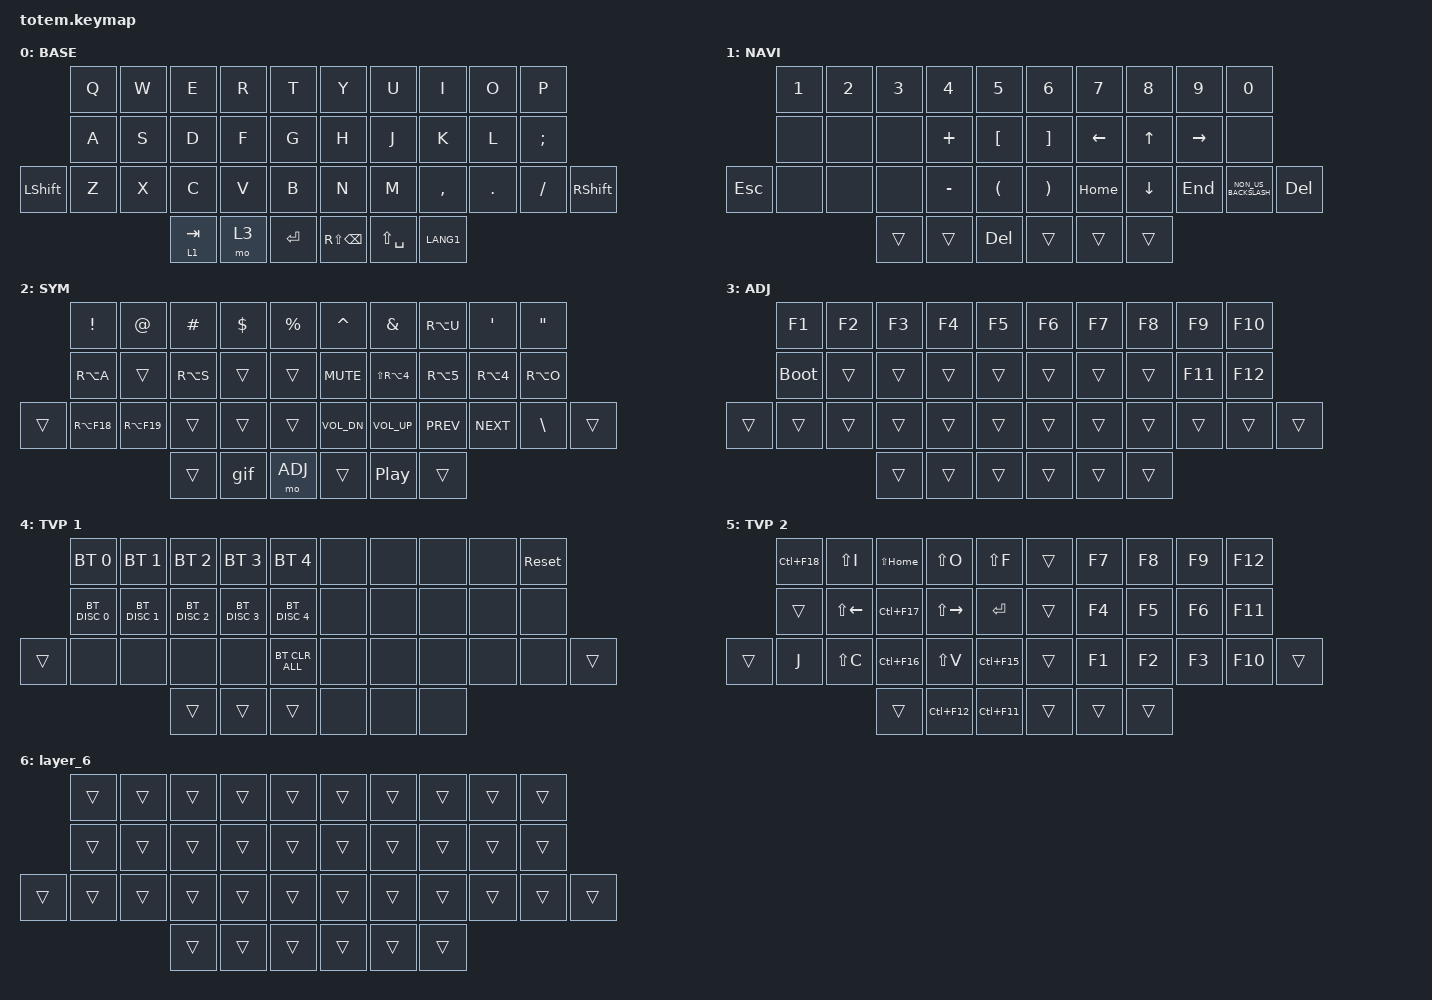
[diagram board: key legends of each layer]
//
//                                                        ▀▀▀▀▀     ▀▀▀▀▀          ▀▀█▀▀
//                                                        ▄▀▀▀▄  ▄  ▄▀▀▀▄  ▄  ▄▀▀▀▄  █  ▄▀▀▀▄
//                                                        █   █  █  █   █  █  █   █  █  █   █
//                                                         ▀▀▀   █   ▀▀▀   █   ▀▀▀   ▀   ▀▀▀
//                                                               █      ▄▄▄█▄▄▄    █   █  
//                                                               ▀      █  █  █     █▄█
//                                                             ▀▀▀▀▀    █  █  █      ▀
//                                                                      ▀  ▀  ▀
//
// ▄▄▄▄▄▄▄▄▄▄▄▄▄▄▄▄▄▄▄▄▄▄▄▄▄▄▄▄▄▄▄▄▄▄▄▄▄▄▄▄▄▄▄▄▄▄▄▄▄▄▄▄▄▄▄▄▄▄▄▄▄▄▄▄▄▄▄▄▄▄▄▄▄▄▄▄▄▄▄▄▄▄▄▄▄▄▄▄▄▄▄▄▄▄▄▄▄▄▄▄▄▄▄▄▄▄▄▄▄▄▄▄▄▄▄▄▄▄▄▄▄▄▄▄▄▄▄▄▄▄▄▄▄▄▄▄▄▄▄▄▄▄▄▄▄▄▄▄▄

#include <behaviors.dtsi>
#include <dt-bindings/zmk/bt.h>
#include <dt-bindings/zmk/keys.h>

#define BASE 0
#define NAV  1
#define SYM  2
#define ADJ  3
#define TVP1 4
#define TVP2 5

&mt {
    quick-tap-ms = <100>;
    global-quick-tap;
    flavor = "tap-preferred";
    tapping-term-ms = <170>;
};

/ {
    combos {
        compatible = "zmk,combos";

        combo_esc {
            timeout-ms = <50>;
            key-positions = <0 1>;
            bindings = <&kp ESC>;
            layers = <0>;
        };

        blooth {
            bindings = <&mo 4>;
            key-positions = <20 31>;
            timeout-ms = <50>;
            layers = <0>;
        };

        ctrl+z {
            bindings = <&kp K_BACK>;
            key-positions = <21 22>;
            timeout-ms = <50>;
            layers = <0>;
        };

        ctrl+shift+z {
            bindings = <&kp K_FORWARD>;
            key-positions = <22 23>;
            timeout-ms = <50>;
            layers = <0>;
        };

        ctrl+c {
            bindings = <&kp K_COPY>;
            key-positions = <23 24>;
            timeout-ms = <50>;
            layers = <0>;
        };

        ctrl+v {
            bindings = <&kp K_PASTE>;
            key-positions = <25 24>;
            timeout-ms = <50>;
            layers = <0>;
        };

        goto_blutooth {
            bindings = <&to 4>;
            key-positions = <5 9 30 26>;
            timeout-ms = <50>;
            layers = <0>;
        };

        go_m0 {
            bindings = <&to 0>;
            key-positions = <32 34>;
            timeout-ms = <50>;
            layers = <0>;
        };
    };

    macros {
        gif: gif {
            label = "giphy";
            compatible = "zmk,behavior-macro";
            #binding-cells = <0>;
            bindings =
                <&macro_press>,
                <&kp LSHFT>,
                <&macro_tap>,
                <&kp N2>,
                <&macro_release>,
                <&kp LSHFT>,
                <&macro_tap>,
                <&kp G &kp I &kp F>;
        };
    };

    keymap {
        compatible = "zmk,keymap";

        // ▄▄▄▄▄▄▄▄▄▄▄▄▄▄▄▄▄▄▄▄▄▄▄▄▄▄▄▄▄▄▄▄▄▄▄▄▄▄▄▄▄▄▄▄▄▄▄▄▄▄▄▄▄▄▄▄▄▄▄▄▄▄▄▄▄▄▄▄▄▄▄▄▄▄▄▄▄▄▄▄▄▄▄▄▄▄▄▄▄▄▄▄▄▄▄▄▄▄▄▄▄▄▄▄▄▄▄▄▄▄▄▄▄▄▄▄▄▄▄▄▄▄▄▄▄▄▄▄▄▄▄▄▄▄▄▄▄▄▄▄▄▄▄▄▄▄▄▄▄

        base_layer {
            // ┏━━━━━━━━━━━━━━━━━━━━━━━━━━━━━━━━━━━━━━━┓

            label = "BASE";

            // ┗━━━━━━━━━━━━━━━━━━━━━━━━━━━━━━━━━━━━━━━┛
            //             ┏━━━━━━━━━━━┳━━━━━━━━━━━┳━━━━━━━━━━━┳━━━━━━━━━━━┳━━━━━━━━━━━┓   ┏━━━━━━━━━━━┳━━━━━━━━━━━┳━━━━━━━━━━━┳━━━━━━━━━━━┳━━━━━━━━━━━┓
            //             ┃     Q     ┃     W     ┃     F     ┃     P     ┃     G     ┃   ┃     J     ┃     L     ┃     U     ┃     Y     ┃     ;     ┃
            //             ┣━━━━━━━━━━━╋━━━━━━━━━━━╋━━━━━━━━━━━╋━━━━━━━━━━━╋━━━━━━━━━━━┫   ┣━━━━━━━━━━━╋━━━━━━━━━━━╋━━━━━━━━━━━╋━━━━━━━━━━━╋━━━━━━━━━━━┫
            //             ┃     A     ┃     R     ┃     S     ┃     T     ┃     D     ┃   ┃     H     ┃     N     ┃     E     ┃     I     ┃     O     ┃
            // ┏━━━━━━━━━━━╋━━━━━━━━━━━╋━━━━━━━━━━━╋━━━━━━━━━━━╋━━━━━━━━━━━╋━━━━━━━━━━━┫   ┣━━━━━━━━━━━╋━━━━━━━━━━━╋━━━━━━━━━━━╋━━━━━━━━━━━╋━━━━━━━━━━━╋━━━━━━━━━━━┓
            // ┃     Q     ┃     Z     ┃     X     ┃     C     ┃     V     ┃     B     ┃   ┃     K     ┃     M     ┃     ,     ┃     .     ┃     /     ┃     \     ┃
            // ┗━━━━━━━━━━━┻━━━━━━━━━━━┻━━━━━━━━━━━╋━━━━━━━━━━━╋━━━━━━━━━━━╋━━━━━━━━━━━┫   ┣━━━━━━━━━━━╋━━━━━━━━━━━╋━━━━━━━━━━━╋━━━━━━━━━━━┻━━━━━━━━━━━┻━━━━━━━━━━━┛
            //                                     ┃    DEL    ┃    TAB    ┃    SPC    ┃   ┃   ENTER   ┃           ┃   BSPC    ┃
            //                                     ┗━━━━━━━━━━━┻━━━━━━━━━━━┻━━━━━━━━━━━┛   ┗━━━━━━━━━━━┻━━━━━━━━━━━┻━━━━━━━━━━━┛

            bindings = <
                &kp Q  &kp W  &kp E      &kp R  &kp T        &kp Y              &kp U          &kp I      &kp O    &kp P
                &kp A  &kp S  &kp D      &kp F  &kp G        &kp H              &kp J          &kp K      &kp L    &kp SEMICOLON
&kp LEFT_SHIFT  &kp Z  &kp X  &kp C      &kp V  &kp B        &kp N              &kp M          &kp COMMA  &kp DOT  &kp FSLH       &kp RIGHT_SHIFT
                              &lt 1 TAB  &mo 3  &kp ENTER    &kp RS(BACKSPACE)  &kp LS(SPACE)  &kp LANG1
            >;
        };

        // ▄▄▄▄▄▄▄▄▄▄▄▄▄▄▄▄▄▄▄▄▄▄▄▄▄▄▄▄▄▄▄▄▄▄▄▄▄▄▄▄▄▄▄▄▄▄▄▄▄▄▄▄▄▄▄▄▄▄▄▄▄▄▄▄▄▄▄▄▄▄▄▄▄▄▄▄▄▄▄▄▄▄▄▄▄▄▄▄▄▄▄▄▄▄▄▄▄▄▄▄▄▄▄▄▄▄▄▄▄▄▄▄▄▄▄▄▄▄▄▄▄▄▄▄▄▄▄▄▄▄▄▄▄▄▄▄▄▄▄▄▄▄▄▄▄▄▄▄▄

        nav_layer {
            // ┏━━━━━━━━━━━━━━━━━━━━━━━━━━━━━━━━━━━━━━━┓

            label = "NAVI";

            // ┗━━━━━━━━━━━━━━━━━━━━━━━━━━━━━━━━━━━━━━━┛
            //             ┏━━━━━━━━━━━┳━━━━━━━━━━━┳━━━━━━━━━━━┳━━━━━━━━━━━┳━━━━━━━━━━━┓   ┏━━━━━━━━━━━┳━━━━━━━━━━━┳━━━━━━━━━━━┳━━━━━━━━━━━┳━━━━━━━━━━━┓
            //             ┃           ┃           ┃     UP    ┃           ┃     {     ┃   ┃     }     ┃     7     ┃     8     ┃     9     ┃     +     ┃
            //             ┣━━━━━━━━━━━╋━━━━━━━━━━━╋━━━━━━━━━━━╋━━━━━━━━━━━╋━━━━━━━━━━━┫   ┣━━━━━━━━━━━╋━━━━━━━━━━━╋━━━━━━━━━━━╋━━━━━━━━━━━╋━━━━━━━━━━━┫
            //             ┃   SHIFT   ┃   LEFT    ┃    DOWN   ┃   RIGHT   ┃     [     ┃   ┃     ]     ┃     4     ┃     5     ┃     6     ┃     -     ┃
            // ┏━━━━━━━━━━━╋━━━━━━━━━━━╋━━━━━━━━━━━╋━━━━━━━━━━━╋━━━━━━━━━━━╋━━━━━━━━━━━┫   ┣━━━━━━━━━━━╋━━━━━━━━━━━╋━━━━━━━━━━━╋━━━━━━━━━━━╋━━━━━━━━━━━╋━━━━━━━━━━━┓
            // ┃           ┃           ┃   P UP    ┃  C LOCK   ┃  P DOWN   ┃     (     ┃   ┃     )     ┃     1     ┃     2     ┃     3     ┃     *     ┃           ┃
            // ┗━━━━━━━━━━━┻━━━━━━━━━━━┻━━━━━━━━━━━╋━━━━━━━━━━━╋━━━━━━━━━━━╋━━━━━━━━━━━┫   ┣━━━━━━━━━━━╋━━━━━━━━━━━╋━━━━━━━━━━━╋━━━━━━━━━━━┻━━━━━━━━━━━┻━━━━━━━━━━━┛
            //                                     ┃           ┃    TAB    ┃    SPC    ┃   ┃    DEL    ┃     0     ┃           ┃
            //                                     ┗━━━━━━━━━━━┻━━━━━━━━━━━┻━━━━━━━━━━━┛   ┗━━━━━━━━━━━┻━━━━━━━━━━━┻━━━━━━━━━━━┛

            bindings = <
         &kp NUMBER_1  &kp NUMBER_2  &kp NUMBER_3  &kp NUMBER_4  &kp N5      &kp NUMBER_6  &kp N7    &kp N8          &kp N9     &kp NUMBER_0
         &none         &none         &none         &kp PLUS      &kp LBKT    &kp RBKT      &kp LEFT  &kp UP_ARROW    &kp RIGHT  &none
&kp ESC  &none         &none         &none         &kp MINUS     &kp LPAR    &kp RPAR      &kp HOME  &kp DOWN_ARROW  &kp END    &kp NON_US_BACKSLASH  &kp DELETE
                                     &trans        &trans        &kp DEL     &trans        &trans    &trans
            >;
        };

        // ▄▄▄▄▄▄▄▄▄▄▄▄▄▄▄▄▄▄▄▄▄▄▄▄▄▄▄▄▄▄▄▄▄▄▄▄▄▄▄▄▄▄▄▄▄▄▄▄▄▄▄▄▄▄▄▄▄▄▄▄▄▄▄▄▄▄▄▄▄▄▄▄▄▄▄▄▄▄▄▄▄▄▄▄▄▄▄▄▄▄▄▄▄▄▄▄▄▄▄▄▄▄▄▄▄▄▄▄▄▄▄▄▄▄▄▄▄▄▄▄▄▄▄▄▄▄▄▄▄▄▄▄▄▄▄▄▄▄▄▄▄▄▄▄▄▄▄▄▄

        sim_layer {
            // ┏━━━━━━━━━━━━━━━━━━━━━━━━━━━━━━━━━━━━━━━┓

            label = "SYM";

            // ┗━━━━━━━━━━━━━━━━━━━━━━━━━━━━━━━━━━━━━━━┛
            //             ┏━━━━━━━━━━━┳━━━━━━━━━━━┳━━━━━━━━━━━┳━━━━━━━━━━━┳━━━━━━━━━━━┓   ┏━━━━━━━━━━━┳━━━━━━━━━━━┳━━━━━━━━━━━┳━━━━━━━━━━━┳━━━━━━━━━━━┓
            //             ┃     !     ┃     @     ┃     #     ┃     $     ┃     %     ┃   ┃     ˆ     ┃     &     ┃     Ü     ┃     '     ┃     "     ┃
            //             ┣━━━━━━━━━━━╋━━━━━━━━━━━╋━━━━━━━━━━━╋━━━━━━━━━━━╋━━━━━━━━━━━┫   ┣━━━━━━━━━━━╋━━━━━━━━━━━╋━━━━━━━━━━━╋━━━━━━━━━━━╋━━━━━━━━━━━┫
            //             ┃     Ä     ┃           ┃    SZ     ┃           ┃           ┃   ┃   MUTE    ┃   YEN     ┃   EURO    ┃  POUND    ┃     Ö     ┃
            // ┏━━━━━━━━━━━╋━━━━━━━━━━━╋━━━━━━━━━━━╋━━━━━━━━━━━╋━━━━━━━━━━━╋━━━━━━━━━━━┫   ┣━━━━━━━━━━━╋━━━━━━━━━━━╋━━━━━━━━━━━╋━━━━━━━━━━━╋━━━━━━━━━━━╋━━━━━━━━━━━┓
            // ┃           ┃  EMAIL1   ┃  EMAIL2   ┃           ┃           ┃           ┃   ┃   VOL-    ┃   VOL+    ┃   LAST    ┃   NEXT    ┃     \     ┃           ┃
            // ┗━━━━━━━━━━━┻━━━━━━━━━━━┻━━━━━━━━━━━╋━━━━━━━━━━━╋━━━━━━━━━━━╋━━━━━━━━━━━┫   ┣━━━━━━━━━━━╋━━━━━━━━━━━╋━━━━━━━━━━━╋━━━━━━━━━━━┻━━━━━━━━━━━┻━━━━━━━━━━━┛
            //                                     ┃           ┃    GIF    ┃    ADJ    ┃   ┃           ┃           ┃           ┃
            //                                     ┗━━━━━━━━━━━┻━━━━━━━━━━━┻━━━━━━━━━━━┛   ┗━━━━━━━━━━━┻━━━━━━━━━━━┻━━━━━━━━━━━┛

            bindings = <
        &kp EXCL     &kp AT       &kp HASH   &kp DLLR  &kp PRCNT    &kp CARET     &kp AMPS        &kp RA(U)   &kp SQT     &kp DQT
        &kp RA(A)    &trans       &kp RA(S)  &trans    &trans       &kp C_MUTE    &kp LS(RA(N4))  &kp RA(N5)  &kp RA(N4)  &kp RA(O)
&trans  &kp RA(F18)  &kp RA(F19)  &trans     &trans    &trans       &kp C_VOL_DN  &kp C_VOL_UP    &kp C_PREV  &kp C_NEXT  &kp BSLH   &trans
                                  &trans     &gif      &mo ADJ      &trans        &kp C_PP        &trans
            >;
        };

        // ▄▄▄▄▄▄▄▄▄▄▄▄▄▄▄▄▄▄▄▄▄▄▄▄▄▄▄▄▄▄▄▄▄▄▄▄▄▄▄▄▄▄▄▄▄▄▄▄▄▄▄▄▄▄▄▄▄▄▄▄▄▄▄▄▄▄▄▄▄▄▄▄▄▄▄▄▄▄▄▄▄▄▄▄▄▄▄▄▄▄▄▄▄▄▄▄▄▄▄▄▄▄▄▄▄▄▄▄▄▄▄▄▄▄▄▄▄▄▄▄▄▄▄▄▄▄▄▄▄▄▄▄▄▄▄▄▄▄▄▄▄▄▄▄▄▄▄▄▄

        adjust_layer {
            // ┏━━━━━━━━━━━━━━━━━━━━━━━━━━━━━━━━━━━━━━━┓

            label = "ADJ";

            // ┗━━━━━━━━━━━━━━━━━━━━━━━━━━━━━━━━━━━━━━━┛
            //             ┏━━━━━━━━━━━┳━━━━━━━━━━━┳━━━━━━━━━━━┳━━━━━━━━━━━┳━━━━━━━━━━━┓   ┏━━━━━━━━━━━┳━━━━━━━━━━━┳━━━━━━━━━━━┳━━━━━━━━━━━┳━━━━━━━━━━━┓
            //             ┃   RESET   ┃ BT CLEAR  ┃  OUT TOG  ┃           ┃           ┃   ┃           ┃    F7     ┃    F8     ┃    F9     ┃    F12    ┃
            //             ┣━━━━━━━━━━━╋━━━━━━━━━━━╋━━━━━━━━━━━╋━━━━━━━━━━━╋━━━━━━━━━━━┫   ┣━━━━━━━━━━━╋━━━━━━━━━━━╋━━━━━━━━━━━╋━━━━━━━━━━━╋━━━━━━━━━━━┫
            //             ┃ BOOTLOAD  ┃ BT NEXT   ┃           ┃           ┃           ┃   ┃           ┃    F4     ┃    F5     ┃    F6     ┃    F11    ┃
            // ┏━━━━━━━━━━━╋━━━━━━━━━━━╋━━━━━━━━━━━╋━━━━━━━━━━━╋━━━━━━━━━━━╋━━━━━━━━━━━┫   ┣━━━━━━━━━━━╋━━━━━━━━━━━╋━━━━━━━━━━━╋━━━━━━━━━━━╋━━━━━━━━━━━╋━━━━━━━━━━━┓
            // ┃           ┃           ┃ BT PREV   ┃           ┃           ┃           ┃   ┃           ┃    F1     ┃    F2     ┃    F3     ┃    F10    ┃           ┃
            // ┗━━━━━━━━━━━┻━━━━━━━━━━━┻━━━━━━━━━━━╋━━━━━━━━━━━╋━━━━━━━━━━━╋━━━━━━━━━━━┫   ┣━━━━━━━━━━━╋━━━━━━━━━━━╋━━━━━━━━━━━╋━━━━━━━━━━━┻━━━━━━━━━━━┻━━━━━━━━━━━┛
            //                                     ┃           ┃           ┃           ┃   ┃           ┃           ┃           ┃
            //                                     ┗━━━━━━━━━━━┻━━━━━━━━━━━┻━━━━━━━━━━━┛   ┗━━━━━━━━━━━┻━━━━━━━━━━━┻━━━━━━━━━━━┛

            bindings = <
        &kp F1       &kp F2  &kp F3  &kp F4  &kp F5    &kp F6  &kp F7  &kp F8  &kp F9   &kp F10
        &bootloader  &trans  &trans  &trans  &trans    &trans  &trans  &trans  &kp F11  &kp F12
&trans  &trans       &trans  &trans  &trans  &trans    &trans  &trans  &trans  &trans   &trans   &trans
                             &trans  &trans  &trans    &trans  &trans  &trans
            >;
        };

        // ▄▄▄▄▄▄▄▄▄▄▄▄▄▄▄▄▄▄▄▄▄▄▄▄▄▄▄▄▄▄▄▄▄▄▄▄▄▄▄▄▄▄▄▄▄▄▄▄▄▄▄▄▄▄▄▄▄▄▄▄▄▄▄▄▄▄▄▄▄▄▄▄▄▄▄▄▄▄▄▄▄▄▄▄▄▄▄▄▄▄▄▄▄▄▄▄▄▄▄▄▄▄▄▄▄▄▄▄▄▄▄▄▄▄▄▄▄▄▄▄▄▄▄▄▄▄▄▄▄▄▄▄▄▄▄▄▄▄▄▄▄▄▄▄▄▄▄▄▄

        tvp1_layer {
            // ┏━━━━━━━━━━━━━━━━━━━━━━━━━━━━━━━━━━━━━━━┓

            label = "TVP 1";

            // ┗━━━━━━━━━━━━━━━━━━━━━━━━━━━━━━━━━━━━━━━┛
            //             ┏━━━━━━━━━━━┳━━━━━━━━━━━┳━━━━━━━━━━━┳━━━━━━━━━━━┳━━━━━━━━━━━┓   ┏━━━━━━━━━━━┳━━━━━━━━━━━┳━━━━━━━━━━━┳━━━━━━━━━━━┳━━━━━━━━━━━┓
            //             ┃ NEXT FILE ┃ MARK IN   ┃ ROTATE    ┃ MARK OUT  ┃ SHOW SNAP ┃   ┃           ┃           ┃           ┃           ┃           ┃
            //             ┣━━━━━━━━━━━╋━━━━━━━━━━━╋━━━━━━━━━━━╋━━━━━━━━━━━╋━━━━━━━━━━━┫   ┣━━━━━━━━━━━╋━━━━━━━━━━━╋━━━━━━━━━━━╋━━━━━━━━━━━╋━━━━━━━━━━━┫
            //             ┃ TVP II    ┃ LEFT      ┃ PAN       ┃ RIGHT     ┃ PLAY/FLIP ┃   ┃           ┃           ┃           ┃           ┃           ┃
            // ┏━━━━━━━━━━━╋━━━━━━━━━━━╋━━━━━━━━━━━╋━━━━━━━━━━━╋━━━━━━━━━━━╋━━━━━━━━━━━┫   ┣━━━━━━━━━━━╋━━━━━━━━━━━╋━━━━━━━━━━━╋━━━━━━━━━━━╋━━━━━━━━━━━╋━━━━━━━━━━━┓
            // ┃ FULLSCR   ┃ SHIFT     ┃ COPY      ┃ DELETE    ┃ PASTE     ┃ IMG MARK  ┃   ┃           ┃           ┃           ┃           ┃           ┃           ┃
            // ┗━━━━━━━━━━━┻━━━━━━━━━━━┻━━━━━━━━━━━╋━━━━━━━━━━━╋━━━━━━━━━━━╋━━━━━━━━━━━┫   ┣━━━━━━━━━━━╋━━━━━━━━━━━╋━━━━━━━━━━━╋━━━━━━━━━━━┻━━━━━━━━━━━┻━━━━━━━━━━━┛
            //                                     ┃           ┃ UNDO/SAVE ┃  SEL/MOV  ┃   ┃           ┃           ┃           ┃
            //                                     ┗━━━━━━━━━━━┻━━━━━━━━━━━┻━━━━━━━━━━━┛   ┗━━━━━━━━━━━┻━━━━━━━━━━━┻━━━━━━━━━━━┛

            bindings = <
        &bt BT_SEL 0   &bt BT_SEL 1   &bt BT_SEL 2   &bt BT_SEL 3   &bt BT_SEL 4      &none  &none  &none  &none  &sys_reset
        &bt BT_DISC 0  &bt BT_DISC 1  &bt BT_DISC 2  &bt BT_DISC 3  &bt BT_DISC 4     &none  &none  &none  &none  &none
&trans  &none          &none          &none          &none          &bt BT_CLR_ALL    &none  &none  &none  &none  &none       &trans
                                      &trans         &trans         &trans            &none  &none  &none
            >;
        };

        // ▄▄▄▄▄▄▄▄▄▄▄▄▄▄▄▄▄▄▄▄▄▄▄▄▄▄▄▄▄▄▄▄▄▄▄▄▄▄▄▄▄▄▄▄▄▄▄▄▄▄▄▄▄▄▄▄▄▄▄▄▄▄▄▄▄▄▄▄▄▄▄▄▄▄▄▄▄▄▄▄▄▄▄▄▄▄▄▄▄▄▄▄▄▄▄▄▄▄▄▄▄▄▄▄▄▄▄▄▄▄▄▄▄▄▄▄▄▄▄▄▄▄▄▄▄▄▄▄▄▄▄▄▄▄▄▄▄▄▄▄▄▄▄▄▄▄▄▄▄

        tvp2_layer {
            // ┏━━━━━━━━━━━━━━━━━━━━━━━━━━━━━━━━━━━━━━━┓

            label = "TVP 2";

            // ┗━━━━━━━━━━━━━━━━━━━━━━━━━━━━━━━━━━━━━━━┛
            //             ┏━━━━━━━━━━━┳━━━━━━━━━━━┳━━━━━━━━━━━┳━━━━━━━━━━━┳━━━━━━━━━━━┓   ┏━━━━━━━━━━━┳━━━━━━━━━━━┳━━━━━━━━━━━┳━━━━━━━━━━━┳━━━━━━━━━━━┓
            //             ┃ SOLO      ┃ TOGGLE IN ┃ RESET ROT ┃ TOGGLE OUT┃ TAKE SNAP ┃   ┃           ┃           ┃           ┃           ┃           ┃
            //             ┣━━━━━━━━━━━╋━━━━━━━━━━━╋━━━━━━━━━━━╋━━━━━━━━━━━╋━━━━━━━━━━━┫   ┣━━━━━━━━━━━╋━━━━━━━━━━━╋━━━━━━━━━━━╋━━━━━━━━━━━╋━━━━━━━━━━━┫
            //             ┃ ---       ┃ LAST KEY  ┃ NEW KEY   ┃ NEXT KEY  ┃ ENTER     ┃   ┃           ┃           ┃           ┃           ┃           ┃
            // ┏━━━━━━━━━━━╋━━━━━━━━━━━╋━━━━━━━━━━━╋━━━━━━━━━━━╋━━━━━━━━━━━╋━━━━━━━━━━━┫   ┣━━━━━━━━━━━╋━━━━━━━━━━━╋━━━━━━━━━━━╋━━━━━━━━━━━╋━━━━━━━━━━━╋━━━━━━━━━━━┓
            // ┃           ┃ FULLSCR   ┃ CPY2BRUSH ┃ DEL HEAD  ┃ PSTinPLACE┃ BOOK MARK ┃   ┃           ┃           ┃           ┃           ┃           ┃           ┃
            // ┗━━━━━━━━━━━┻━━━━━━━━━━━┻━━━━━━━━━━━╋━━━━━━━━━━━╋━━━━━━━━━━━╋━━━━━━━━━━━┫   ┣━━━━━━━━━━━╋━━━━━━━━━━━╋━━━━━━━━━━━╋━━━━━━━━━━━┻━━━━━━━━━━━┻━━━━━━━━━━━┛
            //                                     ┃           ┃ REDO/SAV1 ┃TRANS/WARP ┃   ┃           ┃           ┃           ┃
            //                                     ┗━━━━━━━━━━━┻━━━━━━━━━━━┻━━━━━━━━━━━┛   ┗━━━━━━━━━━━┻━━━━━━━━━━━┻━━━━━━━━━━━┛

            bindings = <
        &kp LC(F18)  &kp LS(I)     &kp LS(HOME)  &kp LS(O)      &kp LS(F)      &trans  &kp F7  &kp F8  &kp F9  &kp F12
        &trans       &kp LS(LEFT)  &kp LC(F17)   &kp LS(RIGHT)  &kp RET        &trans  &kp F4  &kp F5  &kp F6  &kp F11
&trans  &kp J        &kp LS(C)     &kp LC(F16)   &kp LS(V)      &kp LC(F15)    &trans  &kp F1  &kp F2  &kp F3  &kp F10  &trans
                                   &trans        &kp LC(F12)    &kp LC(F11)    &trans  &trans  &trans
            >;
        };

        layer_6 {
            bindings = <
        &trans  &trans  &trans  &trans  &trans    &trans  &trans  &trans  &trans  &trans
        &trans  &trans  &trans  &trans  &trans    &trans  &trans  &trans  &trans  &trans
&trans  &trans  &trans  &trans  &trans  &trans    &trans  &trans  &trans  &trans  &trans  &trans
                        &trans  &trans  &trans    &trans  &trans  &trans
            >;
        };
    };
};
